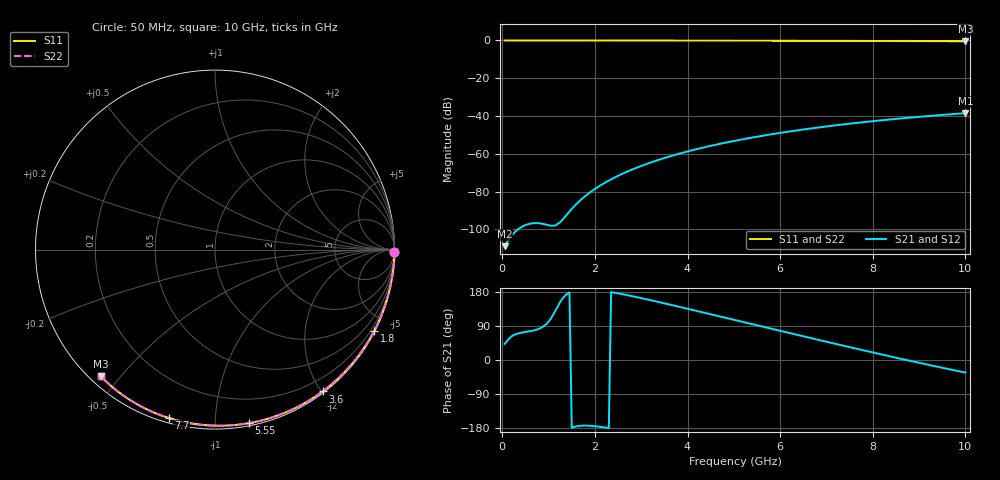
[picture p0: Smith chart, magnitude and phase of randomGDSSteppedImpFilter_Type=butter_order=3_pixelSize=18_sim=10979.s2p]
! freq	dB(S11)	phase(S11)	dB(S12)	phase(S12)
!  dB(S21)	phase(S21)	dB(S22)	phase(S22)
!S-par simulation data
#  GHz  S  DB  R 50
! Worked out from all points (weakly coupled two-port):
!   200 points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, 50 MHz to 10 GHz, reference 50 ohm
!   highest |S21| = -38.47 dB at 10 GHz (marker M1); lowest = -108.9 dB at 50 MHz (marker M2)
!   lowest |S11| = -0.4 dB at 10 GHz (marker M3), VSWR 39.57, Z = 1.51 - j22.2 ohm
!   |S11| at or under -10 dB: nowhere
!   |S22| runs from -0.4 to 0.0 dB; largest |S21 - S12| = 0
!   S11 on the Smith chart (normalised r, x): 50 MHz: open; 1.8 GHz: 0.04, -4.16; 3.6 GHz: 0.02, -2.01; 5.55 GHz: 0.02, -1.21; 7.7 GHz: 0.02, -0.76; 10 GHz: 0.03, -0.44
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0.05  -0.00 -0.8  -108.87 42.3  -108.87 42.3  -0.00 -0.8
0.45  -0.01 -6.9  -98.28 73.0  -98.28 73.0  -0.01 -6.9
0.9  -0.02 -13.6  -97.20 89.9  -97.20 89.9  -0.02 -13.6
1.75  -0.03 -26.3  -83.20 -173.3  -83.20 -173.3  -0.03 -26.3
1.8  -0.03 -27.0  -82.19 -173.2  -82.19 -173.2  -0.03 -27.0
1.9  -0.04 -28.5  -80.31 -173.6  -80.31 -173.6  -0.04 -28.5
1.95  -0.04 -29.2  -79.43 -174.1  -79.43 -174.1  -0.04 -29.2
2.25  -0.04 -33.6  -74.82 -178.7  -74.82 -178.7  -0.04 -33.6
2.55  -0.05 -38.0  -71.05 174.7  -71.05 174.7  -0.05 -38.0
2.95  -0.06 -43.7  -66.88 164.6  -66.88 164.6  -0.06 -43.7
3.4  -0.07 -50.1  -62.99 152.4  -62.99 152.4  -0.07 -50.1
3.6  -0.07 -52.8  -61.47 146.7  -61.47 146.7  -0.07 -52.8
3.9  -0.08 -57.0  -59.39 138.1  -59.39 138.1  -0.08 -57.0
4.3  -0.09 -62.5  -56.91 126.5  -56.91 126.5  -0.09 -62.4
5.05  -0.11 -72.4  -52.96 104.6  -52.96 104.6  -0.11 -72.4
5.55  -0.13 -78.9  -50.73 90.0  -50.73 90.0  -0.13 -78.9
6.1  -0.15 -85.9  -48.55 74.0  -48.55 74.0  -0.15 -85.9
6.7  -0.18 -93.4  -46.46 56.7  -46.46 56.7  -0.18 -93.4
7.7  -0.24 -105.4  -43.50 28.3  -43.50 28.3  -0.24 -105.4
8.35  -0.29 -113.1  -41.86 10.2  -41.86 10.2  -0.29 -113.1
9.15  -0.35 -122.3  -40.10 -11.4  -40.10 -11.4  -0.35 -122.3
10  -0.44 -132.1  -38.47 -33.3  -38.47 -33.3  -0.44 -132.1
